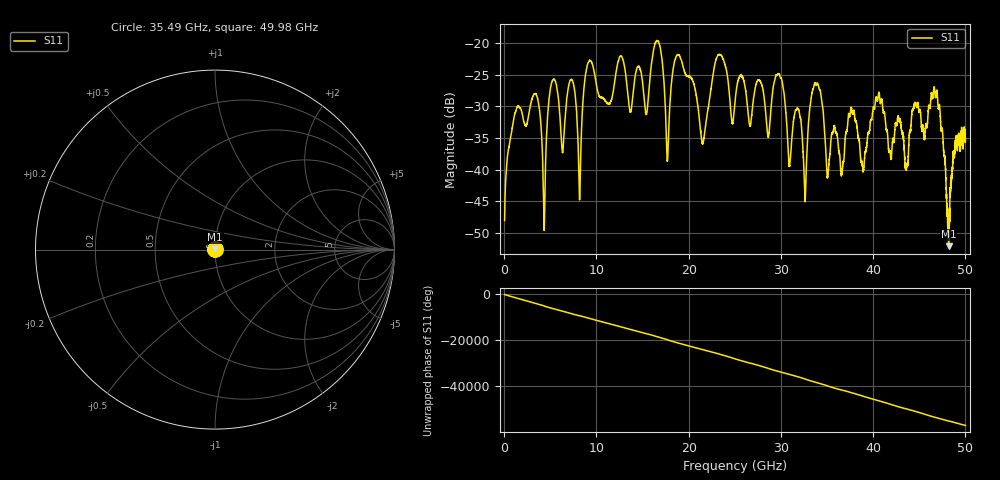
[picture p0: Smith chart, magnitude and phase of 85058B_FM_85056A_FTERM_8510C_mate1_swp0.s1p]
!Created with skrf (http://scikit-rf.org).
# Hz S RI R 50.0
!freq ReS11 ImS11
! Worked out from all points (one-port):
!   10001 points, 45 MHz to 50 GHz, reference 50 ohm
!   lowest |S11| = -52.1 dB at 48.18 GHz (marker M1), VSWR 1.01, Z = 50 + j0.249 ohm
!   |S11| at or under -10 dB: start of sweep to end of sweep
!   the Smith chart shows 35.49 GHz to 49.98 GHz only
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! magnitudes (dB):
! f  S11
! 45 MHz  -48.0
! 1.444 GHz  -30.0
! 3.527 GHz  -28.3
! 4.331 GHz  -49.2
! 5.415 GHz  -25.7
! 6.289 GHz  -37.1
! 7.194 GHz  -25.8
! 8.173 GHz  -44.8
! 9.102 GHz  -23.1
! 12.53 GHz  -22.1
! 15.4 GHz  -31.2
! 16.7 GHz  -19.7
! 17.71 GHz  -38.5
! 18.78 GHz  -21.8
! 21.5 GHz  -35.9
! 23.19 GHz  -21.9
! 25.02 GHz  -29.4
! 28.63 GHz  -34.8
! 29.72 GHz  -24.9
! 31.27 GHz  -33.6
! 32.64 GHz  -44.4
! 33.87 GHz  -26.4
! 36.63 GHz  -40.2
! 37.51 GHz  -31.3
! 43.76 GHz  -38.9
! 46.75 GHz  -28.6
! 48.18 GHz  -52.1
! 50 GHz  -35.2
